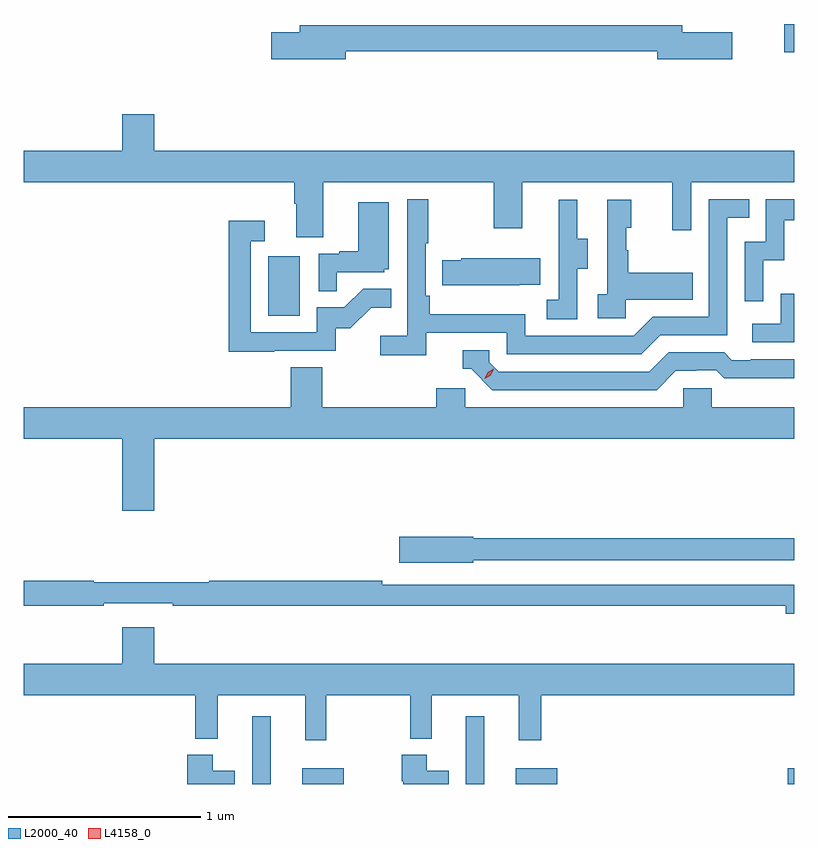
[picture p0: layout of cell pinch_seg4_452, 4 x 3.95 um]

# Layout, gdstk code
import gdstk
lib = gdstk.Library(unit=1e-6, precision=1e-09)
def R(c, l, rs):  # rectangles x0, y0, x1, y1
    for r in rs: c.add(gdstk.rectangle(r[:2], r[2:], *l))
def P(c, l, *ps):  # polygons
    for p in ps: c.add(gdstk.Polygon(p, *l))
L2000_40 = (2000, 40)
L4158_0 = (4158, 0)

pinch_seg4_452 = lib.new_cell('pinch_seg4_452')
R(pinch_seg4_452, L2000_40, [(920.925,779.043,921.022,779.395), (921.185,779.043,921.4,779.125), (922.035,779.043,922.132,779.395), (922.295,779.043,922.51,779.125), (923.708,779.043,923.74,779.125), (921.008,781.476,921.172,781.783), (923.688,782.843,923.74,782.99)])
P(pinch_seg4_452, L2000_40, [(921.412,782.848),(923.03,782.848),(923.03,782.806),(923.419,782.806),(923.419,782.948),(923.158,782.948),(923.158,782.984),(921.173,782.984),(921.173,782.948),(921.024,782.948),(921.024,782.806),(921.412,782.806)],
  [(921.295,782.168),(922.18,782.168),(922.18,781.929),(922.327,781.929),(922.327,782.168),(923.108,782.168),(923.108,781.92),(923.205,781.92),(923.205,782.168),(923.74,782.168),(923.74,782.332),(920.416,782.332),(920.416,782.521),(920.252,782.521),(920.252,782.332),(919.74,782.332),(919.74,782.168),(921.143,782.168),(921.143,782.056),(921.155,782.056),(921.155,781.882),(921.295,781.882)],
  [(921.83,781.386),(922.248,781.386),(922.248,781.275),(922.945,781.275),(923.044,781.374),(923.394,781.374),(923.394,781.983),(923.507,781.983),(923.507,782.079),(923.298,782.079),(923.298,781.47),(923.007,781.47),(922.908,781.371),(922.344,781.371),(922.344,781.483),(921.848,781.483),(921.848,781.579),(921.828,781.579),(921.828,781.852),(921.841,781.852),(921.841,782.08),(921.732,782.08),(921.732,781.372),(921.591,781.372),(921.591,781.27),(921.83,781.27)],
  [(923.58,781.763),(923.69,781.763),(923.69,781.971),(923.74,781.971),(923.74,782.079),(923.592,782.079),(923.592,781.86),(923.484,781.86),(923.484,781.551),(923.58,781.551)],
  [(922.866,781.559),(923.213,781.559),(923.213,781.699),(922.879,781.699),(922.879,781.814),(922.869,781.814),(922.869,781.932),(922.894,781.932),(922.894,782.077),(922.77,782.077),(922.77,781.586),(922.719,781.586),(922.719,781.461),(922.866,781.461)],
  [(922.614,781.72),(922.669,781.72),(922.669,781.875),(922.615,781.875),(922.615,782.077),(922.517,782.077),(922.517,781.863),(922.518,781.863),(922.518,781.559),(922.455,781.559),(922.455,781.456),(922.614,781.456)],
  [(921.365,781.701),(921.612,781.701),(921.612,781.716),(921.634,781.716),(921.634,782.065),(921.476,782.065),(921.476,781.81),(921.377,781.81),(921.377,781.797),(921.27,781.797),(921.27,781.603),(921.365,781.603)],
  [(921.041,781.293),(921.36,781.293),(921.36,781.41),(921.436,781.41),(921.543,781.517),(921.647,781.517),(921.647,781.616),(921.503,781.616),(921.405,781.518),(921.261,781.518),(921.261,781.389),(920.919,781.389),(920.919,781.863),(920.992,781.863),(920.992,781.969),(920.803,781.969),(920.803,781.288),(921.041,781.288)],
  [(922.313,781.637),(922.421,781.637),(922.421,781.774),(922.011,781.774),(922.011,781.764),(921.913,781.764),(921.913,781.634),(922.313,781.634)],
  [(923.74,781.588),(923.67,781.588),(923.67,781.434),(923.523,781.434),(923.523,781.338),(923.74,781.338)],
  [(923.125,781.188),(923.232,781.188),(923.232,781.191),(923.335,781.191),(923.377,781.149),(923.61,781.149),(923.61,781.151),(923.74,781.151),(923.74,781.248),(923.515,781.248),(923.515,781.245),(923.416,781.245),(923.377,781.284),(923.088,781.284),(922.989,781.185),(922.206,781.185),(922.158,781.233),(922.158,781.296),(922.019,781.296),(922.019,781.2),(922.062,781.2),(922.173,781.089),(923.026,781.089)],
  [(920.416,780.836),(923.74,780.836),(923.74,781),(923.313,781),(923.313,781.098),(923.163,781.098),(923.163,781),(922.032,781),(922.032,781.098),(921.881,781.098),(921.881,781),(921.29,781),(921.29,781.208),(921.125,781.208),(921.125,781),(919.74,781),(919.74,780.836),(920.252,780.836),(920.252,780.462),(920.416,780.462)],
  [(922.074,780.204),(923.74,780.204),(923.74,780.32),(922.074,780.32),(922.074,780.326),(921.69,780.326),(921.69,780.191),(922.074,780.191)],
  [(923.74,780.078),(921.602,780.078),(921.602,780.098),(920.702,780.098),(920.702,780.091),(920.102,780.091),(920.102,780.098),(919.74,780.098),(919.74,779.97),(920.156,779.97),(920.156,779.982),(920.512,779.982),(920.512,779.97),(923.696,779.97),(923.696,779.927),(923.74,779.927)],
  [(921.31,779.504),(921.747,779.504),(921.747,779.279),(921.857,779.279),(921.857,779.504),(922.31,779.504),(922.31,779.271),(922.427,779.271),(922.427,779.504),(923.74,779.504),(923.74,779.668),(920.416,779.668),(920.416,779.857),(920.252,779.857),(920.252,779.668),(919.74,779.668),(919.74,779.504),(920.629,779.504),(920.629,779.279),(920.747,779.279),(920.747,779.504),(921.2,779.504),(921.2,779.271),(921.31,779.271)],
  [(920.836,779.113),(920.722,779.113),(920.722,779.194),(920.588,779.194),(920.588,779.043),(920.836,779.043)],
  [(921.946,779.113),(921.832,779.113),(921.832,779.194),(921.703,779.194),(921.703,779.058),(921.71,779.058),(921.71,779.043),(921.946,779.043)])
P(pinch_seg4_452, L4158_0, [(922.134,781.148),(922.134,781.148),(922.15,781.181),(922.181,781.2),(922.181,781.2),(922.181,781.2),(922.165,781.167),(922.134,781.148)])

lib.write_gds('pinch_seg4_452.gds')
